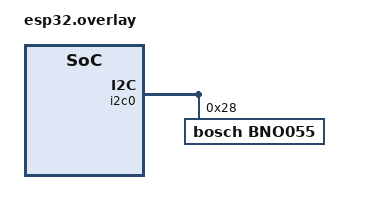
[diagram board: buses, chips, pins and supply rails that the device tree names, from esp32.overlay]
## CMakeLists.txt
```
cmake_minimum_required(VERSION 3.20.0)

set(BOARD esp_wrover_kit/esp32/procpu)
set(DTC_OVERLAY_FILE "esp32.overlay")


find_package(Zephyr REQUIRED HINTS $ENV{ZEPHYR_BASE})
project(bno055_basic)

target_sources(app PRIVATE src/main.cpp)

# Link against module's library
#target_link_libraries(app PRIVATE bno055_driver)
```

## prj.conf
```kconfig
# --- Core ---
CONFIG_LOG=y
CONFIG_LOG_MODE_DEFERRED=y
CONFIG_PRINTK=y
CONFIG_BNO055_DRIVER=y

# --- C & C++ ---
CONFIG_CPP=y
CONFIG_NEWLIB_LIBC=y
CONFIG_NEWLIB_LIBC_FLOAT_PRINTF=y

# --- Console ---
CONFIG_SERIAL=y
CONFIG_CONSOLE=y
CONFIG_UART_CONSOLE=y

# --- Stack ---
CONFIG_MAIN_STACK_SIZE=4096

# --- I2C ---
CONFIG_I2C=y
CONFIG_I2C_INIT_PRIORITY=60

# (ESP32 uses CONFIG_I2C_ESP32 automatically from devicetree, 
# no need to force family-specific drivers)

# --- SMF ---
CONFIG_SMF=y

# --- Bootloader (if you want mcuboot) ---
CONFIG_BOOTLOADER_MCUBOOT=y
```

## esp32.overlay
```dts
&i2c0 {
    bno055@28 {
        compatible = "bosch,bno055";
        reg = <0x28>;
        label = "BNO055";
    };
};
```

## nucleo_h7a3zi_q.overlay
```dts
&i2c1 {
    status = "okay";
    clock-frequency = <I2C_BITRATE_STANDARD>;
    pinctrl-names = "default";
    pinctrl-0 = <&i2c1_scl_pb6 &i2c1_sda_pb7>;
};
```

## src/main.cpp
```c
#include <zephyr/kernel.h>
#include <zephyr/device.h>
#include <zephyr/sys/printk.h>
#include <math.h>

#include "bno055_driver.hpp"

#define I2C_NODE DT_NODELABEL(i2c0)

static const struct device *i2c_dev = DEVICE_DT_GET(I2C_NODE);
static BNO055Driver bno(i2c_dev);

int main(void)
{
    if (!device_is_ready(i2c_dev)) {
        printk("I2C device not ready!\n");
        return 0;
    }

    printk("Starting BNO055 driver...\n");

    bno.start();

    while (true) {
        bno.loop();

        float yaw   = bno.getYaw();
        float pitch = bno.getPitch();
        float roll  = bno.getRoll();

        float lin_x = bno.getLinAccelX();
        float lin_y = bno.getLinAccelY();
        float lin_z = bno.getLinAccelZ();

        float gx = bno.getGravityX();
        float gy = bno.getGravityY();
        float gz = bno.getGravityZ();

        float qx = bno.getQuatX();
        float qy = bno.getQuatY();
        float qz = bno.getQuatZ();
        float qw = bno.getQuatW();

        float temp = bno.getTemp();

        printk("Euler   => Y: %.2f°, P: %.2f°, R: %.2f°\n",
               (double)yaw, (double)pitch, (double)roll);

        printk("LinAcc  => X: %.2f, Y: %.2f, Z: %.2f (m/s²)\n",
               (double)lin_x, (double)lin_y, (double)lin_z);

        printk("Gravity => X: %.2f, Y: %.2f, Z: %.2f (m/s²)\n",
               (double)gx, (double)gy, (double)gz);

        printk("Quat    => W: %.4f, X: %.4f, Y: %.4f, Z: %.4f\n",
               (double)qw, (double)qx, (double)qy, (double)qz);

        printk("Temp    => %.2f °C\n\n", (double)temp);

        k_msleep(50);
    }

    return 0;
}
```
